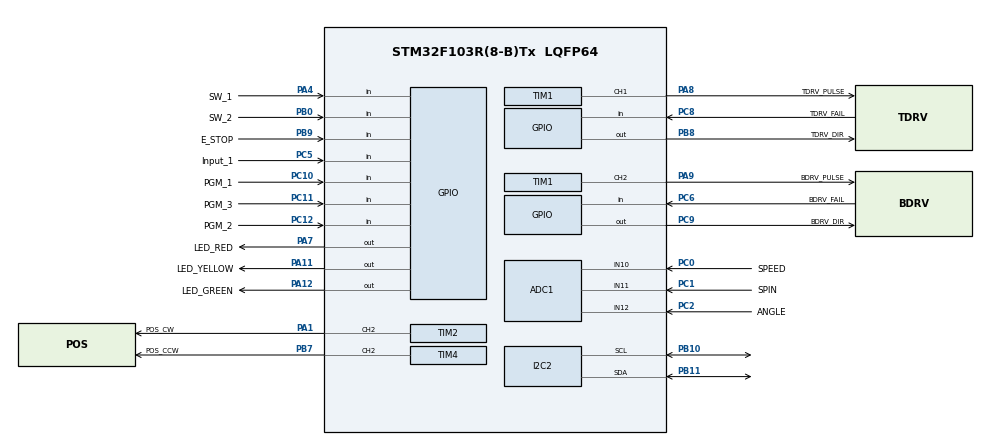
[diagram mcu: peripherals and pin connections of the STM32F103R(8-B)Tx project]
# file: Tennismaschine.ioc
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ADC1.Channel-0\#ChannelRegularConversion=ADC_CHANNEL_10
ADC1.Channel-1\#ChannelRegularConversion=ADC_CHANNEL_11
ADC1.Channel-2\#ChannelRegularConversion=ADC_CHANNEL_12
ADC1.ContinuousConvMode=DISABLE
ADC1.DiscontinuousConvMode=ENABLE
ADC1.EnableAnalogWatchDog=false
ADC1.NbrOfConversion=3
ADC1.NbrOfConversionFlag=1
ADC1.Rank-0\#ChannelRegularConversion=1
ADC1.Rank-1\#ChannelRegularConversion=2
ADC1.Rank-2\#ChannelRegularConversion=3
ADC1.SamplingTime-0\#ChannelRegularConversion=ADC_SAMPLETIME_28CYCLES_5
ADC1.SamplingTime-1\#ChannelRegularConversion=ADC_SAMPLETIME_28CYCLES_5
ADC1.SamplingTime-2\#ChannelRegularConversion=ADC_SAMPLETIME_28CYCLES_5
ADC1.master=1
I2C2.I2C_Mode=I2C_Standard
Mcu.Family=STM32F1
Mcu.Name=STM32F103R(8-B)Tx
Mcu.Package=LQFP64
NVIC.PriorityGroup=NVIC_PRIORITYGROUP_4
NVIC.TIM2_IRQn=true\:0\:0\:false\:false\:true\:true\:true\:true
NVIC.TIM3_IRQn=true\:0\:0\:false\:false\:true\:true\:true\:true
NVIC.TIM4_IRQn=true\:0\:0\:false\:false\:true\:true\:true\:true
PA1.GPIO_Label=POS_CW
PA1.Signal=S_TIM2_CH2
PA11.GPIO_Label=LED_YELLOW
PA11.GPIO_ModeDefaultOutputPP=GPIO_MODE_OUTPUT_PP
PA11.GPIO_Speed=GPIO_SPEED_FREQ_LOW
PA11.Signal=GPIO_Output
PA12.GPIO_Label=LED_GREEN
PA12.Signal=GPIO_Output
PA13.Mode=Serial_Wire
PA13.Signal=SYS_JTMS-SWDIO
PA14.Mode=Serial_Wire
PA14.Signal=SYS_JTCK-SWCLK
PA4.GPIO_Label=SW_1
PA4.GPIO_PuPd=GPIO_PULLUP
PA4.Signal=GPIO_Input
PA7.GPIO_Label=LED_RED
PA7.Signal=GPIO_Output
PA8.GPIO_Label=TDRV_PULSE
PA8.GPIO_Speed=GPIO_SPEED_FREQ_HIGH
PA8.Signal=S_TIM1_CH1
PA9.GPIO_Label=BDRV_PULSE
PA9.GPIO_Speed=GPIO_SPEED_FREQ_HIGH
PA9.Signal=S_TIM1_CH2
PB0.GPIO_Label=SW_2
PB0.GPIO_PuPd=GPIO_PULLUP
PB0.Signal=GPIO_Input
PB10.Mode=I2C
PB10.Signal=I2C2_SCL
PB11.Mode=I2C
PB11.Signal=I2C2_SDA
PB7.GPIO_Label=POS_CCW
PB7.Signal=S_TIM4_CH2
PB8.GPIO_Label=TDRV_DIR
PB8.Signal=GPIO_Output
PB9.GPIO_Label=E_STOP
PB9.Signal=GPIO_Input
PC0.GPIO_Label=SPEED
PC0.Signal=ADCx_IN10
PC1.GPIO_Label=SPIN
PC1.Signal=ADCx_IN11
PC10.GPIO_Label=PGM_1
PC10.GPIO_PuPd=GPIO_PULLUP
PC10.Signal=GPIO_Input
PC11.GPIO_Label=PGM_3
PC11.GPIO_PuPd=GPIO_PULLUP
PC11.Signal=GPIO_Input
PC12.GPIO_Label=PGM_2
PC12.GPIO_PuPd=GPIO_PULLUP
PC12.Signal=GPIO_Input
PC2.GPIO_Label=ANGLE
PC2.Signal=ADCx_IN12
PC5.GPIO_Label=Input_1
PC5.GPIO_PuPd=GPIO_PULLUP
PC5.Signal=GPIO_Input
PC6.GPIO_Label=BDRV_FAIL
PC6.GPIO_PuPd=GPIO_PULLUP
PC6.Signal=GPIO_Input
PC8.GPIO_Label=TDRV_FAIL
PC8.GPIO_PuPd=GPIO_PULLUP
PC8.Signal=GPIO_Input
PC9.GPIO_Label=BDRV_DIR
PC9.Signal=GPIO_Output
ProjectManager.HeapSize=0x200
ProjectManager.StackSize=0x400
ProjectManager.TargetToolchain=STM32CubeIDE
RCC.APB1Freq_Value=8000000
RCC.APB2Freq_Value=8000000
SH.ADCx_IN10.0=ADC1_IN10,IN10
SH.ADCx_IN11.0=ADC1_IN11,IN11
SH.ADCx_IN12.0=ADC1_IN12,IN12
SH.S_TIM1_CH1.0=TIM1_CH1,PWM Generation1 CH1
SH.S_TIM1_CH2.0=TIM1_CH2,PWM Generation2 CH2
SH.S_TIM2_CH2.0=TIM2_CH2,PWM Generation2 CH2
SH.S_TIM4_CH2.0=TIM4_CH2,PWM Generation2 CH2
TIM1.AutoReloadPreload=TIM_AUTORELOAD_PRELOAD_ENABLE
TIM1.Channel-PWM\ Generation1\ CH1=TIM_CHANNEL_1
TIM1.Channel-PWM\ Generation2\ CH2=TIM_CHANNEL_2
TIM1.OCPolarity_1=TIM_OCPOLARITY_LOW
TIM1.OCPolarity_2=TIM_OCPOLARITY_LOW
TIM1.Period=700
TIM1.Prescaler=10
TIM1.Pulse-PWM\ Generation1\ CH1=450
TIM1.Pulse-PWM\ Generation2\ CH2=450
TIM2.AutoReloadPreload=TIM_AUTORELOAD_PRELOAD_DISABLE
TIM2.Channel-PWM\ Generation2\ CH2=TIM_CHANNEL_2
TIM2.OCMode_PWM-PWM\ Generation2\ CH2=TIM_OCMODE_PWM2
TIM2.Period=10000
TIM2.Prescaler=7000
TIM2.Pulse-PWM\ Generation2\ CH2=1000
TIM3.Period=10
TIM3.Prescaler=7000
TIM4.AutoReloadPreload=TIM_AUTORELOAD_PRELOAD_DISABLE
TIM4.Channel-PWM\ Generation2\ CH2=TIM_CHANNEL_2
TIM4.OCMode_PWM-PWM\ Generation2\ CH2=TIM_OCMODE_PWM2
TIM4.OCPolarity_2=TIM_OCPOLARITY_HIGH
TIM4.Period=10000
TIM4.Prescaler=7000
TIM4.Pulse-PWM\ Generation2\ CH2=1000
TIM4.TIM_MasterOutputTrigger=TIM_TRGO_RESET
VP_TIM1_VS_ClockSourceINT.Mode=Internal
VP_TIM2_VS_ClockSourceINT.Mode=Internal
VP_TIM2_VS_OPM.Mode=OPM_bit
VP_TIM3_VS_ClockSourceINT.Mode=Internal
VP_TIM4_VS_ClockSourceINT.Mode=Internal
VP_TIM4_VS_OPM.Mode=OPM_bit
board=custom

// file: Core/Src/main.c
/* USER CODE BEGIN Header */
/**
  ******************************************************************************
  * @file           : main.c
  * @brief          : Main program body
  ******************************************************************************
  * @attention
  *
  * Copyright (c) 2024 STMicroelectronics.
  * All rights reserved.
  *
  * This software is licensed under terms that can be found in the LICENSE file
  * in the root directory of this software component.
  * If no LICENSE file comes with this software, it is provided AS-IS.
  *
  ******************************************************************************
  */
/* USER CODE END Header */
#include "main.h"

/* USER CODE BEGIN Includes */
#include "machine_programs.h"
#include "pos_drv_control.h"
#include "ht16k33.h"
#include <stdint.h>
#include <stdbool.h>
#include <stdio.h>
#include <time.h>
#include <stdlib.h>
/* USER CODE END Includes */

ADC_HandleTypeDef hadc1;

I2C_HandleTypeDef hi2c2;

TIM_HandleTypeDef htim1;
TIM_HandleTypeDef htim2;
TIM_HandleTypeDef htim3;
TIM_HandleTypeDef htim4;

/* USER CODE BEGIN PV */
FlagStatus mainDrvRunning = RESET;		//State of both main drives
FlagStatus initHomingComplete = RESET;	//Reset if initial homing is needed
FlagStatus homingComplete = RESET;		//Reset if simple homing is needed
FlagStatus eStop = SET;					//State of emergency stop
FlagStatus startPos = RESET;			//Start position reached
FlagStatus endPos = RESET;				//End position reached
FlagStatus pgmChanged = SET;
FlagStatus SW1PrevState = RESET;
FlagStatus SW2PrevState = RESET;
FlagStatus EStopPrevState = RESET;
uint16_t SW1Count = 0;
uint16_t SW2Count = 0;
uint16_t EStopCount = 0;

/* USER CODE END PV */

void SystemClock_Config(void);
static void MX_GPIO_Init(void);
static void MX_ADC1_Init(void);
static void MX_I2C2_Init(void);
static void MX_TIM1_Init(void);
static void MX_TIM2_Init(void);
static void MX_TIM4_Init(void);
static void MX_TIM3_Init(void);
/* USER CODE BEGIN PFP */
void CheckSWCallback(TIM_HandleTypeDef *htim);

int E_Stop_Call(void);

/* USER CODE END PFP */

int main(void)
{

  /* MCU Configuration--------------------------------------------------------*/

  /* Reset of all peripherals, Initializes the Flash interface and the Systick. */
  HAL_Init();

  /* Configure the system clock */
  SystemClock_Config();

  /* USER CODE BEGIN SysInit */
  ADC_CR2_REG |= (1<<2); //Start calibration of ADCs after power on

  while(ADC_CR2_REG & (1<<2)){
	  //Wait for ADC calibration finished
  }

  /* USER CODE END SysInit */

  /* Initialize all configured peripherals */
  MX_GPIO_Init();
  MX_ADC1_Init();
  MX_I2C2_Init();
  MX_TIM1_Init();
  MX_TIM2_Init();
  MX_TIM4_Init();
  MX_TIM3_Init();
  /* USER CODE BEGIN 2 */

  seg7_init(SPEED_ADDR);
  seg7_init(SPIN_ADDR);
  seg7_init(ANGLE_ADDR);

  HAL_TIM_RegisterCallback(&htim3, HAL_TIM_PERIOD_ELAPSED_CB_ID, CheckSWCallback);

  //Set position signal of main drives
  HAL_GPIO_WritePin(TDRV_DIR_GPIO_Port, TDRV_DIR_Pin, MAIN_DRV_DIR_POLARITY ? GPIO_PIN_SET : GPIO_PIN_RESET);
  HAL_GPIO_WritePin(BDRV_DIR_GPIO_Port, BDRV_DIR_Pin, MAIN_DRV_DIR_POLARITY ? GPIO_PIN_RESET : GPIO_PIN_SET);

  eStop = !HAL_GPIO_ReadPin(E_STOP_GPIO_Port, E_STOP_Pin); 	//Get initial state of emergency stop
  startPos = !HAL_GPIO_ReadPin(SW_1_GPIO_Port, SW_1_Pin);	//Check if start position is reached
  endPos = !HAL_GPIO_ReadPin(SW_2_GPIO_Port, SW_2_Pin);		//Check if end position is reached

  HAL_TIM_Base_Start_IT(&htim3);

  Set_Led_Output(YELLOW);

  uint8_t pgm_state = 0;
  uint8_t prevPgmState = 0;				//Previous program state

  srand(time(NULL)); //Seed the random int generator for auto programs

  /* USER CODE END 2 */

  /* Infinite loop */
  /* USER CODE BEGIN WHILE */
  while (1)
  {
	//if(eStop) E_Stop_Call(); //Call emergency stop routine

	uint8_t text_pos[] = {SEG7_P, SEG7_0, SEG7_5, SEG7_SPACE};

	if(initHomingComplete == RESET){
		seg7_displayOnOffMulti(SPEED);
		seg7_display(text_pos, SPEED_ADDR);
		init_home_pos_drive();
		Set_Led_Output(GREEN);
	}
	else if (homingComplete == RESET){
		seg7_displayOnOffMulti(SPEED);
		seg7_display(text_pos, SPEED_ADDR);
		home_pos_drive();
		Set_Led_Output(GREEN);
	}

	if(startPos){
		HAL_TIM_PWM_Stop(&htim4, TIM_CHANNEL_2);
		TIM4->CNT = 0;
	}

	if(endPos){
		HAL_TIM_PWM_Stop(&htim2, TIM_CHANNEL_2);
		TIM2->CNT = 0;
	}

	prevPgmState = pgm_state;

	/*The mode switch is read as bitpattern PGM_1_Pin = LSB PGM_3_Pin = MSB
	 *if pattern is not valid, machine turns of --> pgm_stop
	 */
	pgm_state =
			(!HAL_GPIO_ReadPin(GPIOC ,PGM_1_Pin) << 0)|
			(!HAL_GPIO_ReadPin(GPIOC ,PGM_2_Pin) << 1)|
			(!HAL_GPIO_ReadPin(GPIOC ,PGM_3_Pin) << 2);

	(prevPgmState == pgm_state) ? (pgmChanged = RESET) : (pgmChanged = SET);

	switch(pgm_state){
	case 0:
		pgm_stop();
		break;
	case 1:
		pgm_manual();
		break;
	case 2:
		pgm_auto_speed();
		break;
	case 4:
		pgm_auto();
		break;
	default:
		pgm_stop();
		break;
	}

    /* USER CODE END WHILE */

  }
}

void SystemClock_Config(void)
{
  RCC_OscInitTypeDef RCC_OscInitStruct = {0};
  RCC_ClkInitTypeDef RCC_ClkInitStruct = {0};
  RCC_PeriphCLKInitTypeDef PeriphClkInit = {0};

  /** Initializes the RCC Oscillators according to the specified parameters
  * in the RCC_OscInitTypeDef structure.
  */
  RCC_OscInitStruct.OscillatorType = RCC_OSCILLATORTYPE_HSI;
  RCC_OscInitStruct.HSIState = RCC_HSI_ON;
  RCC_OscInitStruct.HSICalibrationValue = RCC_HSICALIBRATION_DEFAULT;
  RCC_OscInitStruct.PLL.PLLState = RCC_PLL_NONE;
  if (HAL_RCC_OscConfig(&RCC_OscInitStruct) != HAL_OK)
  {
    Error_Handler();
  }

  /** Initializes the CPU, AHB and APB buses clocks
  */
  RCC_ClkInitStruct.ClockType = RCC_CLOCKTYPE_HCLK|RCC_CLOCKTYPE_SYSCLK
                              |RCC_CLOCKTYPE_PCLK1|RCC_CLOCKTYPE_PCLK2;
  RCC_ClkInitStruct.SYSCLKSource = RCC_SYSCLKSOURCE_HSI;
  RCC_ClkInitStruct.AHBCLKDivider = RCC_SYSCLK_DIV1;
  RCC_ClkInitStruct.APB1CLKDivider = RCC_HCLK_DIV1;
  RCC_ClkInitStruct.APB2CLKDivider = RCC_HCLK_DIV1;

  if (HAL_RCC_ClockConfig(&RCC_ClkInitStruct, FLASH_LATENCY_0) != HAL_OK)
  {
    Error_Handler();
  }
  PeriphClkInit.PeriphClockSelection = RCC_PERIPHCLK_ADC;
  PeriphClkInit.AdcClockSelection = RCC_ADCPCLK2_DIV2;
  if (HAL_RCCEx_PeriphCLKConfig(&PeriphClkInit) != HAL_OK)
  {
    Error_Handler();
  }
}

static void MX_ADC1_Init(void)
{

  ADC_ChannelConfTypeDef sConfig = {0};

  /** Common config
  */
  hadc1.Instance = ADC1;
  hadc1.Init.ScanConvMode = ADC_SCAN_ENABLE;
  hadc1.Init.ContinuousConvMode = DISABLE;
  hadc1.Init.DiscontinuousConvMode = ENABLE;
  hadc1.Init.NbrOfDiscConversion = 1;
  hadc1.Init.ExternalTrigConv = ADC_SOFTWARE_START;
  hadc1.Init.DataAlign = ADC_DATAALIGN_RIGHT;
  hadc1.Init.NbrOfConversion = 3;
  if (HAL_ADC_Init(&hadc1) != HAL_OK)
  {
    Error_Handler();
  }

  /** Configure Regular Channel
  */
  sConfig.Channel = ADC_CHANNEL_10;
  sConfig.Rank = ADC_REGULAR_RANK_1;
  sConfig.SamplingTime = ADC_SAMPLETIME_28CYCLES_5;
  if (HAL_ADC_ConfigChannel(&hadc1, &sConfig) != HAL_OK)
  {
    Error_Handler();
  }

  /** Configure Regular Channel
  */
  sConfig.Channel = ADC_CHANNEL_11;
  sConfig.Rank = ADC_REGULAR_RANK_2;
  if (HAL_ADC_ConfigChannel(&hadc1, &sConfig) != HAL_OK)
  {
    Error_Handler();
  }

  /** Configure Regular Channel
  */
  sConfig.Channel = ADC_CHANNEL_12;
  sConfig.Rank = ADC_REGULAR_RANK_3;
  if (HAL_ADC_ConfigChannel(&hadc1, &sConfig) != HAL_OK)
  {
    Error_Handler();
  }

}

static void MX_I2C2_Init(void)
{

  hi2c2.Instance = I2C2;
  hi2c2.Init.ClockSpeed = 100000;
  hi2c2.Init.DutyCycle = I2C_DUTYCYCLE_2;
  hi2c2.Init.OwnAddress1 = 0;
  hi2c2.Init.AddressingMode = I2C_ADDRESSINGMODE_7BIT;
  hi2c2.Init.DualAddressMode = I2C_DUALADDRESS_DISABLE;
  hi2c2.Init.OwnAddress2 = 0;
  hi2c2.Init.GeneralCallMode = I2C_GENERALCALL_DISABLE;
  hi2c2.Init.NoStretchMode = I2C_NOSTRETCH_DISABLE;
  if (HAL_I2C_Init(&hi2c2) != HAL_OK)
  {
    Error_Handler();
  }

}

static void MX_TIM1_Init(void)
{

  TIM_ClockConfigTypeDef sClockSourceConfig = {0};
  TIM_MasterConfigTypeDef sMasterConfig = {0};
  TIM_OC_InitTypeDef sConfigOC = {0};
  TIM_BreakDeadTimeConfigTypeDef sBreakDeadTimeConfig = {0};

  htim1.Instance = TIM1;
  htim1.Init.Prescaler = 10;
  htim1.Init.CounterMode = TIM_COUNTERMODE_UP;
  htim1.Init.Period = 700;
  htim1.Init.ClockDivision = TIM_CLOCKDIVISION_DIV1;
  htim1.Init.RepetitionCounter = 0;
  htim1.Init.AutoReloadPreload = TIM_AUTORELOAD_PRELOAD_ENABLE;
  if (HAL_TIM_Base_Init(&htim1) != HAL_OK)
  {
    Error_Handler();
  }
  sClockSourceConfig.ClockSource = TIM_CLOCKSOURCE_INTERNAL;
  if (HAL_TIM_ConfigClockSource(&htim1, &sClockSourceConfig) != HAL_OK)
  {
    Error_Handler();
  }
  if (HAL_TIM_PWM_Init(&htim1) != HAL_OK)
  {
    Error_Handler();
  }
  sMasterConfig.MasterOutputTrigger = TIM_TRGO_RESET;
  sMasterConfig.MasterSlaveMode = TIM_MASTERSLAVEMODE_DISABLE;
  if (HAL_TIMEx_MasterConfigSynchronization(&htim1, &sMasterConfig) != HAL_OK)
  {
    Error_Handler();
  }
  sConfigOC.OCMode = TIM_OCMODE_PWM1;
  sConfigOC.Pulse = 450;
  sConfigOC.OCPolarity = TIM_OCPOLARITY_LOW;
  sConfigOC.OCNPolarity = TIM_OCNPOLARITY_HIGH;
  sConfigOC.OCFastMode = TIM_OCFAST_DISABLE;
  sConfigOC.OCIdleState = TIM_OCIDLESTATE_RESET;
  sConfigOC.OCNIdleState = TIM_OCNIDLESTATE_RESET;
  if (HAL_TIM_PWM_ConfigChannel(&htim1, &sConfigOC, TIM_CHANNEL_1) != HAL_OK)
  {
    Error_Handler();
  }
  if (HAL_TIM_PWM_ConfigChannel(&htim1, &sConfigOC, TIM_CHANNEL_2) != HAL_OK)
  {
    Error_Handler();
  }
  sBreakDeadTimeConfig.OffStateRunMode = TIM_OSSR_DISABLE;
  sBreakDeadTimeConfig.OffStateIDLEMode = TIM_OSSI_DISABLE;
  sBreakDeadTimeConfig.LockLevel = TIM_LOCKLEVEL_OFF;
  sBreakDeadTimeConfig.DeadTime = 0;
  sBreakDeadTimeConfig.BreakState = TIM_BREAK_DISABLE;
  sBreakDeadTimeConfig.BreakPolarity = TIM_BREAKPOLARITY_HIGH;
  sBreakDeadTimeConfig.AutomaticOutput = TIM_AUTOMATICOUTPUT_DISABLE;
  if (HAL_TIMEx_ConfigBreakDeadTime(&htim1, &sBreakDeadTimeConfig) != HAL_OK)
  {
    Error_Handler();
  }
  HAL_TIM_MspPostInit(&htim1);

}

static void MX_TIM2_Init(void)
{

  TIM_ClockConfigTypeDef sClockSourceConfig = {0};
  TIM_MasterConfigTypeDef sMasterConfig = {0};
  TIM_OC_InitTypeDef sConfigOC = {0};

  htim2.Instance = TIM2;
  htim2.Init.Prescaler = 7000;
  htim2.Init.CounterMode = TIM_COUNTERMODE_UP;
  htim2.Init.Period = 10000;
  htim2.Init.ClockDivision = TIM_CLOCKDIVISION_DIV1;
  htim2.Init.AutoReloadPreload = TIM_AUTORELOAD_PRELOAD_DISABLE;
  if (HAL_TIM_Base_Init(&htim2) != HAL_OK)
  {
    Error_Handler();
  }
  sClockSourceConfig.ClockSource = TIM_CLOCKSOURCE_INTERNAL;
  if (HAL_TIM_ConfigClockSource(&htim2, &sClockSourceConfig) != HAL_OK)
  {
    Error_Handler();
  }
  if (HAL_TIM_PWM_Init(&htim2) != HAL_OK)
  {
    Error_Handler();
  }
  if (HAL_TIM_OnePulse_Init(&htim2, TIM_OPMODE_SINGLE) != HAL_OK)
  {
    Error_Handler();
  }
  sMasterConfig.MasterOutputTrigger = TIM_TRGO_RESET;
  sMasterConfig.MasterSlaveMode = TIM_MASTERSLAVEMODE_DISABLE;
  if (HAL_TIMEx_MasterConfigSynchronization(&htim2, &sMasterConfig) != HAL_OK)
  {
    Error_Handler();
  }
  sConfigOC.OCMode = TIM_OCMODE_PWM2;
  sConfigOC.Pulse = 1000;
  sConfigOC.OCPolarity = TIM_OCPOLARITY_HIGH;
  sConfigOC.OCFastMode = TIM_OCFAST_DISABLE;
  if (HAL_TIM_PWM_ConfigChannel(&htim2, &sConfigOC, TIM_CHANNEL_2) != HAL_OK)
  {
    Error_Handler();
  }
  HAL_TIM_MspPostInit(&htim2);

}

static void MX_TIM3_Init(void)
{

  TIM_ClockConfigTypeDef sClockSourceConfig = {0};
  TIM_MasterConfigTypeDef sMasterConfig = {0};

  htim3.Instance = TIM3;
  htim3.Init.Prescaler = 7000;
  htim3.Init.CounterMode = TIM_COUNTERMODE_UP;
  htim3.Init.Period = 10;
  htim3.Init.ClockDivision = TIM_CLOCKDIVISION_DIV1;
  htim3.Init.AutoReloadPreload = TIM_AUTORELOAD_PRELOAD_DISABLE;
  if (HAL_TIM_Base_Init(&htim3) != HAL_OK)
  {
    Error_Handler();
  }
  sClockSourceConfig.ClockSource = TIM_CLOCKSOURCE_INTERNAL;
  if (HAL_TIM_ConfigClockSource(&htim3, &sClockSourceConfig) != HAL_OK)
  {
    Error_Handler();
  }
  sMasterConfig.MasterOutputTrigger = TIM_TRGO_RESET;
  sMasterConfig.MasterSlaveMode = TIM_MASTERSLAVEMODE_DISABLE;
  if (HAL_TIMEx_MasterConfigSynchronization(&htim3, &sMasterConfig) != HAL_OK)
  {
    Error_Handler();
  }

}

static void MX_TIM4_Init(void)
{

  TIM_ClockConfigTypeDef sClockSourceConfig = {0};
  TIM_MasterConfigTypeDef sMasterConfig = {0};
  TIM_OC_InitTypeDef sConfigOC = {0};

  htim4.Instance = TIM4;
  htim4.Init.Prescaler = 7000;
  htim4.Init.CounterMode = TIM_COUNTERMODE_UP;
  htim4.Init.Period = 10000;
  htim4.Init.ClockDivision = TIM_CLOCKDIVISION_DIV1;
  htim4.Init.AutoReloadPreload = TIM_AUTORELOAD_PRELOAD_DISABLE;
  if (HAL_TIM_Base_Init(&htim4) != HAL_OK)
  {
    Error_Handler();
  }
  sClockSourceConfig.ClockSource = TIM_CLOCKSOURCE_INTERNAL;
  if (HAL_TIM_ConfigClockSource(&htim4, &sClockSourceConfig) != HAL_OK)
  {
    Error_Handler();
  }
  if (HAL_TIM_PWM_Init(&htim4) != HAL_OK)
  {
    Error_Handler();
  }
  if (HAL_TIM_OnePulse_Init(&htim4, TIM_OPMODE_SINGLE) != HAL_OK)
  {
    Error_Handler();
  }
  sMasterConfig.MasterOutputTrigger = TIM_TRGO_RESET;
  sMasterConfig.MasterSlaveMode = TIM_MASTERSLAVEMODE_DISABLE;
  if (HAL_TIMEx_MasterConfigSynchronization(&htim4, &sMasterConfig) != HAL_OK)
  {
    Error_Handler();
  }
  sConfigOC.OCMode = TIM_OCMODE_PWM2;
  sConfigOC.Pulse = 1000;
  sConfigOC.OCPolarity = TIM_OCPOLARITY_HIGH;
  sConfigOC.OCFastMode = TIM_OCFAST_DISABLE;
  if (HAL_TIM_PWM_ConfigChannel(&htim4, &sConfigOC, TIM_CHANNEL_2) != HAL_OK)
  {
    Error_Handler();
  }
  HAL_TIM_MspPostInit(&htim4);

}

static void MX_GPIO_Init(void)
{
  GPIO_InitTypeDef GPIO_InitStruct = {0};

  /* GPIO Ports Clock Enable */
  __HAL_RCC_GPIOC_CLK_ENABLE();
  __HAL_RCC_GPIOA_CLK_ENABLE();
  __HAL_RCC_GPIOB_CLK_ENABLE();

  /*Configure GPIO pin Output Level */
  HAL_GPIO_WritePin(GPIOA, LED_RED_Pin|LED_YELLOW_Pin|LED_GREEN_Pin, GPIO_PIN_RESET);

  /*Configure GPIO pin Output Level */
  HAL_GPIO_WritePin(BDRV_DIR_GPIO_Port, BDRV_DIR_Pin, GPIO_PIN_RESET);

  /*Configure GPIO pin Output Level */
  HAL_GPIO_WritePin(TDRV_DIR_GPIO_Port, TDRV_DIR_Pin, GPIO_PIN_RESET);

  /*Configure GPIO pin : SW_1_Pin */
  GPIO_InitStruct.Pin = SW_1_Pin;
  GPIO_InitStruct.Mode = GPIO_MODE_INPUT;
  GPIO_InitStruct.Pull = GPIO_PULLUP;
  HAL_GPIO_Init(SW_1_GPIO_Port, &GPIO_InitStruct);

  /*Configure GPIO pins : LED_RED_Pin LED_YELLOW_Pin LED_GREEN_Pin */
  GPIO_InitStruct.Pin = LED_RED_Pin|LED_YELLOW_Pin|LED_GREEN_Pin;
  GPIO_InitStruct.Mode = GPIO_MODE_OUTPUT_PP;
  GPIO_InitStruct.Pull = GPIO_NOPULL;
  GPIO_InitStruct.Speed = GPIO_SPEED_FREQ_LOW;
  HAL_GPIO_Init(GPIOA, &GPIO_InitStruct);

  /*Configure GPIO pins : Input_1_Pin BDRV_FAIL_Pin TDRV_FAIL_Pin PGM_1_Pin
                           PGM_3_Pin PGM_2_Pin */
  GPIO_InitStruct.Pin = Input_1_Pin|BDRV_FAIL_Pin|TDRV_FAIL_Pin|PGM_1_Pin
                          |PGM_3_Pin|PGM_2_Pin;
  GPIO_InitStruct.Mode = GPIO_MODE_INPUT;
  GPIO_InitStruct.Pull = GPIO_PULLUP;
  HAL_GPIO_Init(GPIOC, &GPIO_InitStruct);

  /*Configure GPIO pin : SW_2_Pin */
  GPIO_InitStruct.Pin = SW_2_Pin;
  GPIO_InitStruct.Mode = GPIO_MODE_INPUT;
  GPIO_InitStruct.Pull = GPIO_PULLUP;
  HAL_GPIO_Init(SW_2_GPIO_Port, &GPIO_InitStruct);

  /*Configure GPIO pin : BDRV_DIR_Pin */
  GPIO_InitStruct.Pin = BDRV_DIR_Pin;
  GPIO_InitStruct.Mode = GPIO_MODE_OUTPUT_PP;
  GPIO_InitStruct.Pull = GPIO_NOPULL;
  GPIO_InitStruct.Speed = GPIO_SPEED_FREQ_LOW;
  HAL_GPIO_Init(BDRV_DIR_GPIO_Port, &GPIO_InitStruct);

  /*Configure GPIO pin : TDRV_DIR_Pin */
  GPIO_InitStruct.Pin = TDRV_DIR_Pin;
  GPIO_InitStruct.Mode = GPIO_MODE_OUTPUT_PP;
  GPIO_InitStruct.Pull = GPIO_NOPULL;
  GPIO_InitStruct.Speed = GPIO_SPEED_FREQ_LOW;
  HAL_GPIO_Init(TDRV_DIR_GPIO_Port, &GPIO_InitStruct);

  /*Configure GPIO pin : E_STOP_Pin */
  GPIO_InitStruct.Pin = E_STOP_Pin;
  GPIO_InitStruct.Mode = GPIO_MODE_INPUT;
  GPIO_InitStruct.Pull = GPIO_NOPULL;
  HAL_GPIO_Init(E_STOP_GPIO_Port, &GPIO_InitStruct);

}

/* USER CODE BEGIN 4 */

//Overwrite _write for ITM_Console
int _write(int file, char *ptr, int len)
{
  int i=0;
  for(i=0 ; i<len ; i++)
    ITM_SendChar((*ptr++));
  return len;
}

/*
 * @brief: helper function to set the LEDs.
 *
 * @param:  bitpattern representing LED state:
 * 			RED, YELLOW, GREEN
 * 			1 = on, 0 = off
 * @return: 0 on success
 */

void CheckSWCallback(TIM_HandleTypeDef *htim){

	volatile uint8_t SW1_State = HAL_GPIO_ReadPin(SW_1_GPIO_Port, SW_1_Pin);
	volatile uint8_t SW2_State = HAL_GPIO_ReadPin(SW_2_GPIO_Port, SW_2_Pin);
	volatile uint8_t EStop_State = HAL_GPIO_ReadPin(E_STOP_GPIO_Port, E_STOP_Pin);

	if(SW1_State == SW1PrevState){
		SW1Count++;
		if(SW1Count == DEBOUNCE_CHECK){
			startPos = !SW1_State;
			if(startPos) actualPosdDeg = 0;
		}
	}
	else
	{
		SW1Count = 0;
	}

	SW1PrevState = SW1_State;

	if(SW2_State == SW2PrevState){
		SW2Count++;
		if(SW2Count == DEBOUNCE_CHECK){
			endPos = !SW2_State;
			if(endPos) actualPosdDeg = 900;
		}
	}
	else
	{
		SW2Count = 0;
	}

	SW2PrevState = SW2_State;

	if(EStop_State == EStopPrevState){
		EStopCount++;
		if(EStopCount == ES_DEBOUNCE_CHECK){
			eStop = !EStop_State;
		}
	}
	else
	{
		EStopCount = 0;
	}

	EStopPrevState = EStop_State;
}

int Set_Led_Output(uint8_t led_mask){
	HAL_GPIO_WritePin(LED_RED_GPIO_Port, LED_RED_Pin, led_mask & RED);
	HAL_GPIO_WritePin(LED_YELLOW_GPIO_Port, LED_YELLOW_Pin, led_mask & YELLOW);
	HAL_GPIO_WritePin(LED_GREEN_GPIO_Port, LED_GREEN_Pin, led_mask & GREEN);

	return EXIT_SUCCESS;
}

/*
 * @brief: helper function to toggle the LEDs.
 *
 * @param:  bitpattern representing LEDs to toggle:
 * 			RED, YELLOW, GREEN
 * 			1 = toggle, 0 = do nothing
 * @return: 0 on success
 */
int Toggle_Led_Output(uint8_t led_mask){
	if(led_mask & RED) HAL_GPIO_TogglePin(LED_RED_GPIO_Port, LED_RED_Pin);
	if(led_mask & YELLOW)HAL_GPIO_TogglePin(LED_YELLOW_GPIO_Port, LED_YELLOW_Pin);
	if(led_mask & GREEN)HAL_GPIO_TogglePin(LED_GREEN_GPIO_Port, LED_GREEN_Pin);

	return EXIT_SUCCESS;
}

//Emergency stop routine
int E_Stop_Call(void){

	Set_Led_Output(RED);
	homingComplete = RESET; //Reset homing because drive could be moved

	uint8_t text_stop[] = {SEG7_5, SEG7_T, SEG7_0, SEG7_P};

	seg7_displayOnOffMulti(SPEED);
	seg7_display(text_stop, SPEED_ADDR);

	while(eStop){
			//Poll until emergency stop is disabled
			eStop = !HAL_GPIO_ReadPin(E_STOP_GPIO_Port, E_STOP_Pin);
		}

	eStop = RESET;
	Set_Led_Output(YELLOW);

	return EXIT_SUCCESS;
}

/* USER CODE END 4 */

void Error_Handler(void)
{
  /* USER CODE BEGIN Error_Handler_Debug */
  /* User can add his own implementation to report the HAL error return state */
  __disable_irq();
  while (1)
  {
	  Set_Led_Output(RED | YELLOW);
  }
  /* USER CODE END Error_Handler_Debug */
}
